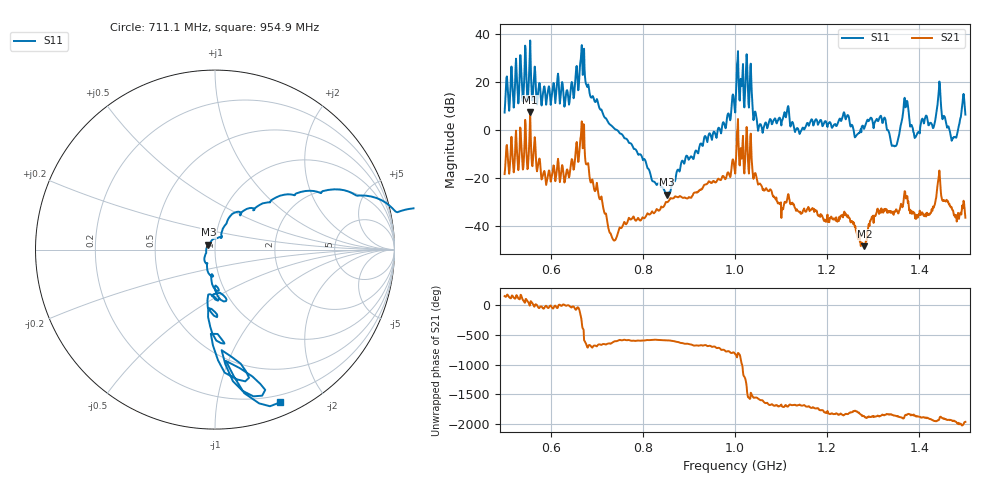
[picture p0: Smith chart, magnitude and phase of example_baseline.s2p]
# HZ S RI R 50
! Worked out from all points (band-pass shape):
!   1010 points, 500 MHz to 1.5 GHz, reference 50 ohm
!   highest |S21| = 7.36 dB at 555.5 MHz (marker M1); lowest = -48.2 dB at 1.281 GHz (marker M2)
!   |S21| within 3 dB of the highest: 555.071 MHz to 555.8502 MHz (779.2 kHz wide, 0.14 % of centre); 1.006389 GHz to 1.006466 GHz (77.02 kHz wide, 0.00765 % of centre)
!   lowest |S11| = -26.8 dB at 851.8 MHz (marker M3), VSWR 1.10, Z = 46.4 + j2.61 ohm
!   |S11| at or under -10 dB: 789.3 MHz to 912.1 MHz (122.8 MHz wide, 14.4 % of centre)
!   S12 and S22 are empty: the file has one direction only
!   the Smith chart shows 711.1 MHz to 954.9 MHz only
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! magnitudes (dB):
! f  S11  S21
! 500 MHz  7.3  -18.3
! 555.5 MHz  37.2  7.4
! 585.2 MHz  17.6  -17.4
! 633.8 MHz  15.6  -17.6
! 667.5 MHz  35.3  3.6
! 735.9 MHz  1.1  -45.6
! 834 MHz  -22.1  -33.5
! 851.8 MHz  -26.8  -29.9
! 1 GHz  7.3  -18.1
! 1.029 GHz  11.1  -16.1
! 1.055 GHz  2.4  -22.4
! 1.167 GHz  4.4  -32.7
! 1.241 GHz  5.2  -35.4
! 1.281 GHz  0.9  -48.2
! 1.333 GHz  -0.6  -34.2
! 1.349 GHz  -6.6  -33.0
! 1.371 GHz  10.6  -28.4
! 1.391 GHz  -3.0  -36.7
! 1.42 GHz  2.0  -34.8
! 1.443 GHz  16.7  -18.9
! 1.473 GHz  -3.2  -33.4
! 1.5 GHz  6.4  -36.4
